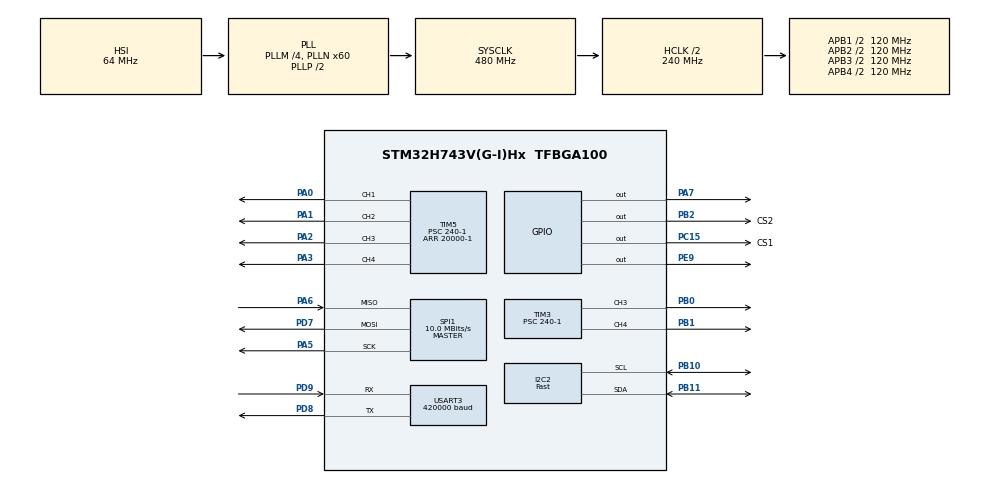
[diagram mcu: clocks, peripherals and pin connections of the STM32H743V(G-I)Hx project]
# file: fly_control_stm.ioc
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CORTEX_M7.default_mode_Activation=1
Dma.I2C2_RX.2.Direction=DMA_PERIPH_TO_MEMORY
Dma.I2C2_RX.2.EventEnable=DISABLE
Dma.I2C2_RX.2.FIFOMode=DMA_FIFOMODE_DISABLE
Dma.I2C2_RX.2.Instance=DMA1_Stream0
Dma.I2C2_RX.2.MemDataAlignment=DMA_MDATAALIGN_BYTE
Dma.I2C2_RX.2.MemInc=DMA_MINC_ENABLE
Dma.I2C2_RX.2.Mode=DMA_NORMAL
Dma.I2C2_RX.2.PeriphDataAlignment=DMA_PDATAALIGN_BYTE
Dma.I2C2_RX.2.PeriphInc=DMA_PINC_DISABLE
Dma.I2C2_RX.2.Polarity=HAL_DMAMUX_REQ_GEN_RISING
Dma.I2C2_RX.2.Priority=DMA_PRIORITY_MEDIUM
Dma.I2C2_RX.2.RequestNumber=1
Dma.I2C2_RX.2.SignalID=NONE
Dma.I2C2_RX.2.SyncEnable=DISABLE
Dma.I2C2_RX.2.SyncPolarity=HAL_DMAMUX_SYNC_NO_EVENT
Dma.I2C2_RX.2.SyncRequestNumber=1
Dma.I2C2_RX.2.SyncSignalID=NONE
Dma.I2C2_TX.3.Direction=DMA_MEMORY_TO_PERIPH
Dma.I2C2_TX.3.EventEnable=DISABLE
Dma.I2C2_TX.3.FIFOMode=DMA_FIFOMODE_DISABLE
Dma.I2C2_TX.3.Instance=DMA1_Stream1
Dma.I2C2_TX.3.MemDataAlignment=DMA_MDATAALIGN_BYTE
Dma.I2C2_TX.3.MemInc=DMA_MINC_ENABLE
Dma.I2C2_TX.3.Mode=DMA_NORMAL
Dma.I2C2_TX.3.PeriphDataAlignment=DMA_PDATAALIGN_BYTE
Dma.I2C2_TX.3.PeriphInc=DMA_PINC_DISABLE
Dma.I2C2_TX.3.Polarity=HAL_DMAMUX_REQ_GEN_RISING
Dma.I2C2_TX.3.Priority=DMA_PRIORITY_MEDIUM
Dma.I2C2_TX.3.RequestNumber=1
Dma.I2C2_TX.3.SignalID=NONE
Dma.I2C2_TX.3.SyncEnable=DISABLE
Dma.I2C2_TX.3.SyncPolarity=HAL_DMAMUX_SYNC_NO_EVENT
Dma.I2C2_TX.3.SyncRequestNumber=1
Dma.I2C2_TX.3.SyncSignalID=NONE
Dma.Request0=USART3_RX
Dma.Request1=USART3_TX
Dma.Request2=I2C2_RX
Dma.Request3=I2C2_TX
Dma.USART3_RX.0.Direction=DMA_PERIPH_TO_MEMORY
Dma.USART3_RX.0.EventEnable=DISABLE
Dma.USART3_RX.0.FIFOMode=DMA_FIFOMODE_DISABLE
Dma.USART3_RX.0.Instance=DMA1_Stream5
Dma.USART3_RX.0.MemDataAlignment=DMA_MDATAALIGN_BYTE
Dma.USART3_RX.0.MemInc=DMA_MINC_ENABLE
Dma.USART3_RX.0.Mode=DMA_NORMAL
Dma.USART3_RX.0.PeriphDataAlignment=DMA_PDATAALIGN_BYTE
Dma.USART3_RX.0.PeriphInc=DMA_PINC_DISABLE
Dma.USART3_RX.0.Polarity=HAL_DMAMUX_REQ_GEN_RISING
Dma.USART3_RX.0.Priority=DMA_PRIORITY_VERY_HIGH
Dma.USART3_RX.0.RequestNumber=1
Dma.USART3_RX.0.SignalID=NONE
Dma.USART3_RX.0.SyncEnable=DISABLE
Dma.USART3_RX.0.SyncPolarity=HAL_DMAMUX_SYNC_NO_EVENT
Dma.USART3_RX.0.SyncRequestNumber=1
Dma.USART3_RX.0.SyncSignalID=NONE
Dma.USART3_TX.1.Direction=DMA_MEMORY_TO_PERIPH
Dma.USART3_TX.1.EventEnable=DISABLE
Dma.USART3_TX.1.FIFOMode=DMA_FIFOMODE_DISABLE
Dma.USART3_TX.1.Instance=DMA1_Stream6
Dma.USART3_TX.1.MemDataAlignment=DMA_MDATAALIGN_BYTE
Dma.USART3_TX.1.MemInc=DMA_MINC_ENABLE
Dma.USART3_TX.1.Mode=DMA_NORMAL
Dma.USART3_TX.1.PeriphDataAlignment=DMA_PDATAALIGN_BYTE
Dma.USART3_TX.1.PeriphInc=DMA_PINC_DISABLE
Dma.USART3_TX.1.Polarity=HAL_DMAMUX_REQ_GEN_RISING
Dma.USART3_TX.1.Priority=DMA_PRIORITY_LOW
Dma.USART3_TX.1.RequestNumber=1
Dma.USART3_TX.1.SignalID=NONE
Dma.USART3_TX.1.SyncEnable=DISABLE
Dma.USART3_TX.1.SyncPolarity=HAL_DMAMUX_SYNC_NO_EVENT
Dma.USART3_TX.1.SyncRequestNumber=1
Dma.USART3_TX.1.SyncSignalID=NONE
FREERTOS.Tasks01=defaultTask,0,128,StartDefaultTask,Default,NULL,Dynamic,NULL,NULL
I2C2.I2C_Speed_Mode=I2C_Fast
I2C2.Timing=0x00B03FDB
Mcu.Family=STM32H7
Mcu.Name=STM32H743V(G-I)Hx
Mcu.Package=TFBGA100
NVIC.DMA1_Stream0_IRQn=true\:5\:0\:false\:false\:true\:true\:false\:true\:true
NVIC.DMA1_Stream1_IRQn=true\:5\:0\:false\:false\:true\:true\:false\:true\:true
NVIC.DMA1_Stream5_IRQn=true\:5\:0\:false\:false\:true\:true\:false\:true\:true
NVIC.DMA1_Stream6_IRQn=true\:5\:0\:false\:false\:true\:true\:false\:true\:true
NVIC.I2C2_ER_IRQn=true\:5\:0\:false\:false\:true\:true\:true\:true\:true
NVIC.I2C2_EV_IRQn=true\:5\:0\:false\:false\:true\:true\:true\:true\:true
NVIC.PriorityGroup=NVIC_PRIORITYGROUP_4
NVIC.TIM2_IRQn=true\:15\:0\:false\:false\:true\:false\:false\:true\:true
NVIC.TimeBase=TIM2_IRQn
NVIC.TimeBaseIP=TIM2
NVIC.USART3_IRQn=true\:5\:0\:false\:false\:true\:true\:true\:true\:true
PA0.Signal=S_TIM5_CH1
PA1.Signal=S_TIM5_CH2
PA13\ (JTMS/SWDIO).Mode=Serial_Wire
PA13\ (JTMS/SWDIO).Signal=DEBUG_JTMS-SWDIO
PA14\ (JTCK/SWCLK).Mode=Serial_Wire
PA14\ (JTCK/SWCLK).Signal=DEBUG_JTCK-SWCLK
PA2.Signal=S_TIM5_CH3
PA3.Signal=S_TIM5_CH4
PA5.GPIO_Speed=GPIO_SPEED_FREQ_VERY_HIGH
PA5.Mode=Full_Duplex_Master
PA5.Signal=SPI1_SCK
PA6.GPIO_Speed=GPIO_SPEED_FREQ_VERY_HIGH
PA6.Mode=Full_Duplex_Master
PA6.Signal=SPI1_MISO
PA7.PinState=GPIO_PIN_SET
PA7.Signal=GPIO_Output
PB0.Signal=S_TIM3_CH3
PB1.Signal=S_TIM3_CH4
PB10.GPIO_Pu=GPIO_PULLUP
PB10.GPIO_Speed=GPIO_SPEED_FREQ_VERY_HIGH
PB10.Mode=I2C
PB10.Signal=I2C2_SCL
PB11.GPIO_Pu=GPIO_PULLUP
PB11.GPIO_Speed=GPIO_SPEED_FREQ_VERY_HIGH
PB11.Mode=I2C
PB11.Signal=I2C2_SDA
PB2.GPIO_Label=CS2
PB2.GPIO_PuPd=GPIO_PULLUP
PB2.GPIO_Speed=GPIO_SPEED_FREQ_HIGH
PB2.PinState=GPIO_PIN_SET
PB2.Signal=GPIO_Output
PC15-OSC32_OUT\ (OSC32_OUT).GPIO_Label=CS1
PC15-OSC32_OUT\ (OSC32_OUT).GPIO_PuPd=GPIO_PULLUP
PC15-OSC32_OUT\ (OSC32_OUT).GPIO_Speed=GPIO_SPEED_FREQ_LOW
PC15-OSC32_OUT\ (OSC32_OUT).PinState=GPIO_PIN_SET
PC15-OSC32_OUT\ (OSC32_OUT).Signal=GPIO_Output
PD7.GPIO_Speed=GPIO_SPEED_FREQ_VERY_HIGH
PD7.Mode=Full_Duplex_Master
PD7.Signal=SPI1_MOSI
PD8.GPIO_Speed=GPIO_SPEED_FREQ_VERY_HIGH
PD8.Mode=Asynchronous
PD8.Signal=USART3_TX
PD9.GPIO_Speed=GPIO_SPEED_FREQ_VERY_HIGH
PD9.Mode=Asynchronous
PD9.Signal=USART3_RX
PE9.PinState=GPIO_PIN_SET
PE9.Signal=GPIO_Output
PH0-OSC_IN\ (PH0).Mode=HSE-External-Oscillator
PH0-OSC_IN\ (PH0).Signal=RCC_OSC_IN
PH1-OSC_OUT\ (PH1).Mode=HSE-External-Oscillator
PH1-OSC_OUT\ (PH1).Signal=RCC_OSC_OUT
ProjectManager.HeapSize=0x200
ProjectManager.StackSize=0x400
ProjectManager.TargetToolchain=CMake
RCC.ADCFreq_Value=129000000
RCC.APB1Freq_Value=120000000
RCC.APB2Freq_Value=120000000
RCC.APB3Freq_Value=120000000
RCC.APB4Freq_Value=120000000
RCC.CortexFreq_Value=480000000
RCC.D1PPRE=RCC_APB3_DIV2
RCC.D2PPRE1=RCC_APB1_DIV2
RCC.D2PPRE2=RCC_APB2_DIV2
RCC.D3PPRE=RCC_APB4_DIV2
RCC.DIVM1=4
RCC.DIVN1=60
RCC.DIVN3=220
RCC.DIVQ1=6
RCC.HCLKFreq_Value=240000000
RCC.HPRE=RCC_HCLK_DIV2
RCC.HSE_VALUE=8000000
RCC.PLL2FRACN=0
RCC.PLL3FRACN=0
RCC.PLLFRACN=0
RCC.SYSCLKFreq_VALUE=480000000
RCC.SYSCLKSource=RCC_SYSCLKSOURCE_PLLCLK
RCC.USBFreq_Value=160000000
SH.S_TIM3_CH3.0=TIM3_CH3,PWM Generation3 CH3
SH.S_TIM3_CH4.0=TIM3_CH4,PWM Generation4 CH4
SH.S_TIM5_CH1.0=TIM5_CH1,PWM Generation1 CH1
SH.S_TIM5_CH2.0=TIM5_CH2,PWM Generation2 CH2
SH.S_TIM5_CH3.0=TIM5_CH3,PWM Generation3 CH3
SH.S_TIM5_CH4.0=TIM5_CH4,PWM Generation4 CH4
SPI1.BaudRatePrescaler=SPI_BAUDRATEPRESCALER_16
SPI1.CLKPhase=SPI_PHASE_1EDGE
SPI1.CLKPolarity=SPI_POLARITY_LOW
SPI1.CalculateBaudRate=10.0 MBits/s
SPI1.DataSize=SPI_DATASIZE_8BIT
SPI1.Direction=SPI_DIRECTION_2LINES
SPI1.Mode=SPI_MODE_MASTER
SPI1.VirtualType=VM_MASTER
TIM3.Channel-PWM\ Generation3\ CH3=TIM_CHANNEL_3
TIM3.Channel-PWM\ Generation4\ CH4=TIM_CHANNEL_4
TIM3.Period=20000-1
TIM3.Prescaler=240-1
TIM5.Channel-PWM\ Generation1\ CH1=TIM_CHANNEL_1
TIM5.Channel-PWM\ Generation2\ CH2=TIM_CHANNEL_2
TIM5.Channel-PWM\ Generation3\ CH3=TIM_CHANNEL_3
TIM5.Channel-PWM\ Generation4\ CH4=TIM_CHANNEL_4
TIM5.Period=20000-1
TIM5.Prescaler=240-1
USART3.BaudRate=420000
USART3.VirtualMode-Asynchronous=VM_ASYNC
VP_FREERTOS_VS_CMSIS_V1.Mode=CMSIS_V1
VP_MEMORYMAP_VS_MEMORYMAP.Mode=CurAppReg
VP_SYS_VS_tim2.Mode=TIM2
board=custom

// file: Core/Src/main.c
/* USER CODE BEGIN Header */
/**
  ******************************************************************************
  * @file           : main.c
  * @brief          : Main program body
  ******************************************************************************
  * @attention
  *
  * Copyright (c) 2025 STMicroelectronics.
  * All rights reserved.
  *
  * This software is licensed under terms that can be found in the LICENSE file
  * in the root directory of this software component.
  * If no LICENSE file comes with this software, it is provided AS-IS.
  *
  ******************************************************************************
  */
/* USER CODE END Header */
#include "main.h"
#include "cmsis_os.h"
#include "dma.h"
#include "i2c.h"
#include "spi.h"
#include "tim.h"
#include "usart.h"
#include "gpio.h"

/* USER CODE BEGIN Includes */
#include <math.h>
#include "bmi088_mm.h"
#include "common.h"
#include "string.h"
#include "remote_control.h"
/* USER CODE END Includes */

void SystemClock_Config(void);
static void MPU_Config(void);
void MX_FREERTOS_Init(void);
/* USER CODE BEGIN PFP */
void HAL_Delay_us_init(uint16_t SYSCLK);
/* USER CODE END PFP */

/* USER CODE BEGIN 0 */

int test_num=0;//观察程序循环运行状态
int error_id=0;//代替printf，寻找错误位置
int test_flag=5;//代替init中的rslt
int test_pwm=0;
int pwm_flag=0;
int tim_5_1_test=0;
int tim_5_2_test=0;
int tim_5_3_test=0;
int tim_5_4_test=1500;

/* USER CODE END 0 */

int main(void)
{

  /* MPU Configuration--------------------------------------------------------*/
  MPU_Config();

  /* MCU Configuration--------------------------------------------------------*/

  /* Reset of all peripherals, Initializes the Flash interface and the Systick. */
  HAL_Init();

  /* Configure the system clock */
  SystemClock_Config();

  /* USER CODE BEGIN SysInit */
   HAL_Delay_us_init(480);//给IMU用的延时
   HAL_Delay(3000);
  /* USER CODE END SysInit */

  /* Initialize all configured peripherals */
  MX_GPIO_Init();
  MX_DMA_Init();
  MX_TIM5_Init();
  MX_SPI1_Init();
  MX_USART3_UART_Init();
  MX_TIM3_Init();
  MX_I2C2_Init();
  /* USER CODE BEGIN 2 */
 	ELRS_Init();

   HAL_TIM_PWM_Start(&htim5, TIM_CHANNEL_1);
	 HAL_TIM_PWM_Start(&htim5, TIM_CHANNEL_2);
	 HAL_TIM_PWM_Start(&htim5, TIM_CHANNEL_3);
	 HAL_TIM_PWM_Start(&htim5, TIM_CHANNEL_4);
	 HAL_TIM_PWM_Start(&htim3, TIM_CHANNEL_3);
	 HAL_TIM_PWM_Start(&htim3, TIM_CHANNEL_4);
	 HAL_GPIO_WritePin(GPIOE,GPIO_PIN_9,GPIO_PIN_RESET);
//   __HAL_TIM_SetCompare(&htim3, TIM_CHANNEL_3, test_pwm);
//	 __HAL_TIM_SetCompare(&htim3, TIM_CHANNEL_4, test_pwm);

   __HAL_TIM_SetCompare(&htim5, TIM_CHANNEL_2, 1500);//初始舵机角度
	 __HAL_TIM_SetCompare(&htim5, TIM_CHANNEL_3, 1500);
	 __HAL_TIM_SetCompare(&htim5, TIM_CHANNEL_4, 1500);
	 	/* Initialize the sensors */

  /* USER CODE END 2 */

  /* Call init function for freertos objects (in cmsis_os2.c) */
  MX_FREERTOS_Init();

  /* Start scheduler */
  osKernelStart();

  /* We should never get here as control is now taken by the scheduler */

  /* Infinite loop */
  while (1)
  {

    /* USER CODE BEGIN 3 */
//   __HAL_TIM_SetCompare(&htim5, TIM_CHANNEL_1, tim_5_1_test);
//	 __HAL_TIM_SetCompare(&htim5, TIM_CHANNEL_2, tim_5_2_test);
//	 __HAL_TIM_SetCompare(&htim5, TIM_CHANNEL_3, test_pwm);
//	 __HAL_TIM_SetCompare(&htim5, TIM_CHANNEL_4, tim_5_4_test);

    		HAL_Delay(100);
  }
  /* USER CODE END 3 */
}

void SystemClock_Config(void)
{
  RCC_OscInitTypeDef RCC_OscInitStruct = {0};
  RCC_ClkInitTypeDef RCC_ClkInitStruct = {0};

  /** Supply configuration update enable
  */
  HAL_PWREx_ConfigSupply(PWR_LDO_SUPPLY);

  /** Configure the main internal regulator output voltage
  */
  __HAL_PWR_VOLTAGESCALING_CONFIG(PWR_REGULATOR_VOLTAGE_SCALE0);

  while(!__HAL_PWR_GET_FLAG(PWR_FLAG_VOSRDY)) {}

  /** Initializes the RCC Oscillators according to the specified parameters
  * in the RCC_OscInitTypeDef structure.
  */
  RCC_OscInitStruct.OscillatorType = RCC_OSCILLATORTYPE_HSI;
  RCC_OscInitStruct.HSIState = RCC_HSI_DIV1;
  RCC_OscInitStruct.HSICalibrationValue = RCC_HSICALIBRATION_DEFAULT;
  RCC_OscInitStruct.PLL.PLLState = RCC_PLL_ON;
  RCC_OscInitStruct.PLL.PLLSource = RCC_PLLSOURCE_HSI;
  RCC_OscInitStruct.PLL.PLLM = 4;
  RCC_OscInitStruct.PLL.PLLN = 60;
  RCC_OscInitStruct.PLL.PLLP = 2;
  RCC_OscInitStruct.PLL.PLLQ = 6;
  RCC_OscInitStruct.PLL.PLLR = 2;
  RCC_OscInitStruct.PLL.PLLRGE = RCC_PLL1VCIRANGE_3;
  RCC_OscInitStruct.PLL.PLLVCOSEL = RCC_PLL1VCOWIDE;
  RCC_OscInitStruct.PLL.PLLFRACN = 0;
  if (HAL_RCC_OscConfig(&RCC_OscInitStruct) != HAL_OK)
  {
    Error_Handler();
  }

  /** Initializes the CPU, AHB and APB buses clocks
  */
  RCC_ClkInitStruct.ClockType = RCC_CLOCKTYPE_HCLK|RCC_CLOCKTYPE_SYSCLK
                              |RCC_CLOCKTYPE_PCLK1|RCC_CLOCKTYPE_PCLK2
                              |RCC_CLOCKTYPE_D3PCLK1|RCC_CLOCKTYPE_D1PCLK1;
  RCC_ClkInitStruct.SYSCLKSource = RCC_SYSCLKSOURCE_PLLCLK;
  RCC_ClkInitStruct.SYSCLKDivider = RCC_SYSCLK_DIV1;
  RCC_ClkInitStruct.AHBCLKDivider = RCC_HCLK_DIV2;
  RCC_ClkInitStruct.APB3CLKDivider = RCC_APB3_DIV2;
  RCC_ClkInitStruct.APB1CLKDivider = RCC_APB1_DIV2;
  RCC_ClkInitStruct.APB2CLKDivider = RCC_APB2_DIV2;
  RCC_ClkInitStruct.APB4CLKDivider = RCC_APB4_DIV2;

  if (HAL_RCC_ClockConfig(&RCC_ClkInitStruct, FLASH_LATENCY_4) != HAL_OK)
  {
    Error_Handler();
  }
}

/* USER CODE BEGIN 4 */
/* USER CODE BEGIN 4 */

/* USER CODE END 4 */

 /* MPU Configuration */

void MPU_Config(void)
{
  MPU_Region_InitTypeDef MPU_InitStruct = {0};

  /* Disables the MPU */
  HAL_MPU_Disable();

  /** Initializes and configures the Region and the memory to be protected
  */
  MPU_InitStruct.Enable = MPU_REGION_ENABLE;
  MPU_InitStruct.Number = MPU_REGION_NUMBER0;
  MPU_InitStruct.BaseAddress = 0x0;
  MPU_InitStruct.Size = MPU_REGION_SIZE_4GB;
  MPU_InitStruct.SubRegionDisable = 0x87;
  MPU_InitStruct.TypeExtField = MPU_TEX_LEVEL0;
  MPU_InitStruct.AccessPermission = MPU_REGION_NO_ACCESS;
  MPU_InitStruct.DisableExec = MPU_INSTRUCTION_ACCESS_DISABLE;
  MPU_InitStruct.IsShareable = MPU_ACCESS_SHAREABLE;
  MPU_InitStruct.IsCacheable = MPU_ACCESS_NOT_CACHEABLE;
  MPU_InitStruct.IsBufferable = MPU_ACCESS_NOT_BUFFERABLE;

  HAL_MPU_ConfigRegion(&MPU_InitStruct);
  /* Enables the MPU */
  HAL_MPU_Enable(MPU_PRIVILEGED_DEFAULT);

}

void HAL_TIM_PeriodElapsedCallback(TIM_HandleTypeDef *htim)
{
  if (htim->Instance == TIM2)
  {
    HAL_IncTick();
  }
}

void Error_Handler(void)
{
  __disable_irq();
  while (1)
  {
  }
}

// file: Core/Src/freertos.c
/* USER CODE BEGIN Header */
/**
  ******************************************************************************
  * File Name          : freertos.c
  * Description        : Code for freertos applications
  ******************************************************************************
  * @attention
  *
  * Copyright (c) 2025 STMicroelectronics.
  * All rights reserved.
  *
  * This software is licensed under terms that can be found in the LICENSE file
  * in the root directory of this software component.
  * If no LICENSE file comes with this software, it is provided AS-IS.
  *
  ******************************************************************************
  */
/* USER CODE END Header */

#include "FreeRTOS.h"
#include "task.h"
#include "main.h"
#include "cmsis_os.h"

/* USER CODE BEGIN Includes */
#include "INS_task.h"
#include "Aircraft_ctrl_task.h"
/* USER CODE END Includes */

/* USER CODE BEGIN PTD */
osThreadId imuTaskHandle;//����IMU���
osThreadId fly_ctrlTaskHandle;//����IMU���
/* USER CODE END PTD */

osThreadId defaultTaskHandle;

void StartDefaultTask(void const * argument);

void MX_FREERTOS_Init(void); /* (MISRA C 2004 rule 8.1) */

/* GetIdleTaskMemory prototype (linked to static allocation support) */
void vApplicationGetIdleTaskMemory( StaticTask_t **ppxIdleTaskTCBBuffer, StackType_t **ppxIdleTaskStackBuffer, uint32_t *pulIdleTaskStackSize );

/* USER CODE BEGIN GET_IDLE_TASK_MEMORY */
static StaticTask_t xIdleTaskTCBBuffer;
static StackType_t xIdleStack[configMINIMAL_STACK_SIZE];

void vApplicationGetIdleTaskMemory( StaticTask_t **ppxIdleTaskTCBBuffer, StackType_t **ppxIdleTaskStackBuffer, uint32_t *pulIdleTaskStackSize )
{
  *ppxIdleTaskTCBBuffer = &xIdleTaskTCBBuffer;
  *ppxIdleTaskStackBuffer = &xIdleStack[0];
  *pulIdleTaskStackSize = configMINIMAL_STACK_SIZE;
  /* place for user code */
}
/* USER CODE END GET_IDLE_TASK_MEMORY */

void MX_FREERTOS_Init(void) {

  /* Create the thread(s) */
  /* definition and creation of defaultTask */
  osThreadDef(defaultTask, StartDefaultTask, osPriorityNormal, 0, 128);
  defaultTaskHandle = osThreadCreate(osThread(defaultTask), NULL);

  /* USER CODE BEGIN RTOS_THREADS */
	osThreadDef(INS, INS_task, osPriorityHigh, 0, 256);
  imuTaskHandle = osThreadCreate(osThread(INS), NULL);

	osThreadDef(FLY_CTRL, Aircraft_ctrl_task, osPriorityNormal, 0, 256);
  fly_ctrlTaskHandle = osThreadCreate(osThread(FLY_CTRL), NULL);
  /* add threads, ... */
  /* USER CODE END RTOS_THREADS */

}

void StartDefaultTask(void const * argument)
{
  for(;;)
  {
    osDelay(1);
  }
}
